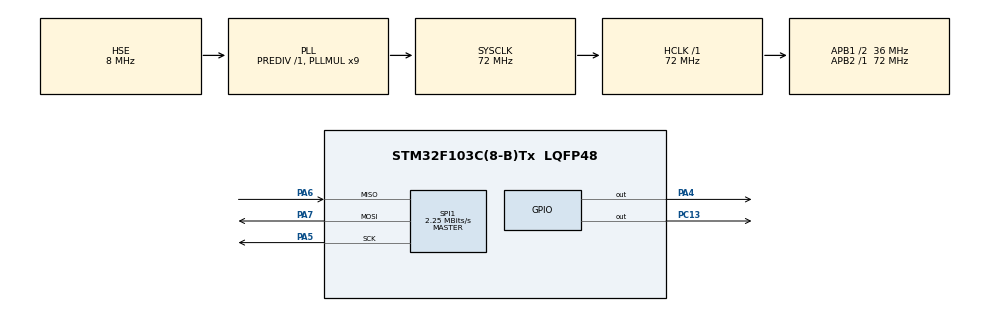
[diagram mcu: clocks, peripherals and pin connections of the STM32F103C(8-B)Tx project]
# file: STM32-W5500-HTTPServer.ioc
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Mcu.Family=STM32F1
Mcu.Name=STM32F103C(8-B)Tx
Mcu.Package=LQFP48
NVIC.PriorityGroup=NVIC_PRIORITYGROUP_4
PA13.Mode=Serial_Wire
PA13.Signal=SYS_JTMS-SWDIO
PA14.Mode=Serial_Wire
PA14.Signal=SYS_JTCK-SWCLK
PA4.Signal=GPIO_Output
PA5.Mode=Full_Duplex_Master
PA5.Signal=SPI1_SCK
PA6.Mode=Full_Duplex_Master
PA6.Signal=SPI1_MISO
PA7.Mode=Full_Duplex_Master
PA7.Signal=SPI1_MOSI
PC13-TAMPER-RTC.Signal=GPIO_Output
PD0-OSC_IN.Mode=HSE-External-Oscillator
PD0-OSC_IN.Signal=RCC_OSC_IN
PD1-OSC_OUT.Mode=HSE-External-Oscillator
PD1-OSC_OUT.Signal=RCC_OSC_OUT
ProjectManager.HeapSize=0x200
ProjectManager.StackSize=0x400
ProjectManager.TargetToolchain=STM32CubeIDE
RCC.AHBFreq_Value=72000000
RCC.APB1CLKDivider=RCC_HCLK_DIV2
RCC.APB1Freq_Value=36000000
RCC.APB1TimFreq_Value=72000000
RCC.APB2Freq_Value=72000000
RCC.APB2TimFreq_Value=72000000
RCC.HCLKFreq_Value=72000000
RCC.PLLMUL=RCC_PLL_MUL9
RCC.PLLSourceVirtual=RCC_PLLSOURCE_HSE
RCC.SYSCLKFreq_VALUE=72000000
RCC.SYSCLKSource=RCC_SYSCLKSOURCE_PLLCLK
RCC.USBFreq_Value=72000000
SPI1.BaudRatePrescaler=SPI_BAUDRATEPRESCALER_32
SPI1.CalculateBaudRate=2.25 MBits/s
SPI1.Direction=SPI_DIRECTION_2LINES
SPI1.Mode=SPI_MODE_MASTER
SPI1.VirtualType=VM_MASTER
board=custom

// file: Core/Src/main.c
/* USER CODE BEGIN Header */
/**
  ******************************************************************************
  * @file           : main.c
  * @brief          : Main program body
  ******************************************************************************
  * @attention
  *
  * Copyright (c) 2024 STMicroelectronics.
  * All rights reserved.
  *
  * This software is licensed under terms that can be found in the LICENSE file
  * in the root directory of this software component.
  * If no LICENSE file comes with this software, it is provided AS-IS.
  *
  ******************************************************************************
  */
/* USER CODE END Header */
#include "main.h"

/* USER CODE BEGIN Includes */
#include <string.h>
#include <stdbool.h>
#include <stdio.h>
#include "Ethernet/socket.h"
#include "Internet/dhcp.h"
#include "Internet/httpServer.h"
/* USER CODE END Includes */

SPI_HandleTypeDef hspi1;

void SystemClock_Config(void);
static void MX_GPIO_Init(void);
static void MX_SPI1_Init(void);

/* USER CODE BEGIN 0 */
#define DHCP_SOCKET     0
#define DNS_SOCKET      1
#define HTTP_SOCKET     2
#define SOCK_TCPS       0
#define SOCK_UDPS       1
#define PORT_TCPS       5000
#define PORT_UDPS       3000
#define MAX_HTTPSOCK    6
#define index_page "<!DOCTYPE html>"\
  "<html>"\
    "<head>"\
      "<title>W5500-STM32 Web Server</title>"\
      "<meta http-equiv='Content-Type' content='text/html; charset=utf-8'>"\
      "<link href=\"data:image/x-icon;base64,A\" rel=\"icon\" type=\"image/x-icon\">"\
      "<style>"\
        "html {display: inline-block; margin: 0px auto; text-align: center;}"\
        "body{margin-top: 50px;}"\
        ".button {display: block;"\
          "width: 70px;"\
          "background-color: #008000;"\
          "border: none;"\
          "color: white;"\
          "padding: 14px 28px;"\
          "text-decoration: none;"\
          "font-size: 24px;"\
          "margin: 0px auto 36px;"\
          "border-radius: 5px;}"\
        ".button-on {background-color: #008000;}"\
        ".button-on:active{background-color: #008000;}"\
        ".button-off {background-color: #808080;}"\
        ".button-off:active {background-color: #808080;}"\
        "p {font-size: 20px;color: #808080;margin-bottom: 20px;}"\
      "</style>"\
    "</head>"\
    "<body>"\
      "<h1>STM32 - W5500</h1>"\
      "<p>Control the light via Ethernet</p>"\
      "<a class=\"button button-on\" href=\"/ledon.html\">ON</a>"\
      "<a class=\"button button-off\" href=\"/ledoff.html\">OFF</a>"\
    "</body>"\
  "</html>"

#define ledon_page" <!DOCTYPE html>"\
  "<html>"\
    "<head>"\
      "<title>W5500-STM32 Web Server</title>"\
      "<meta http-equiv='Content-Type' content='text/html; charset=utf-8'>"\
      "<link href=\"data:image/x-icon;base64,A\" rel=\"icon\" type=\"image/x-icon\">"\
      "<style>"\
        "html {display: inline-block; margin: 0px auto; text-align: center;}"\
        "body{margin-top: 50px;}"\
        ".button {display: block;"\
          "width: 70px;"\
          "background-color: #008000;"\
          "border: none;"\
          "color: white;"\
          "padding: 14px 28px;"\
          "text-decoration: none;"\
          "font-size: 24px;"\
          "margin: 0px auto 36px;"\
          "border-radius: 5px;}"\
        ".button-on {background-color: #008000;}"\
        ".button-on:active{background-color: #008000;}"\
        ".button-off {background-color: #808080;}"\
        ".button-off:active {background-color: #808080;}"\
        "p {font-size: 20px;color: #808080;margin-bottom: 20px;}"\
      "</style>"\
    "</head>"\
    "<body>"\
      "<h1>STM32 - W5500</h1>"\
      "<p>Light is currently on</p>"\
      "<a class=\"button button-off\" href=\"/ledoff.html\">OFF</a>"\
    "</body>"\
  "</html>"

#define ledoff_page"<!DOCTYPE html>"\
  "<html>"\
    "<head>"\
      "<title>W5500-STM32 Web Server</title>"\
      "<meta http-equiv='Content-Type' content='text/html; charset=utf-8'>"\
      "<link href=\"data:image/x-icon;base64,A\" rel=\"icon\" type=\"image/x-icon\">"\
      "<style>"\
        "html {display: inline-block; margin: 0px auto; text-align: center;}"\
        "body{margin-top: 50px;}"\
        ".button {display: block;"\
          "width: 70px;"\
          "background-color: #008000;"\
          "border: none;"\
          "color: white;"\
          "padding: 14px 28px;"\
          "text-decoration: none;"\
          "font-size: 24px;"\
          "margin: 0px auto 36px;"\
          "border-radius: 5px;}"\
        ".button-on {background-color: #008000;}"\
        ".button-on:active{background-color: #008000;}"\
        ".button-off {background-color: #808080;}"\
        ".button-off:active {background-color: #808080;}"\
        "p {font-size: 20px;color: #808080;margin-bottom: 20px;}"\
      "</style>"\
    "</head>"\
    "<body>"\
      "<h1>STM32 - W5500</h1>"\
      "<p>Light is currently off</p>"\
      "<a class=\"button button-on\" href=\"/ledon.html\">ON</a>"\
    "</body>"\
  "</html>"

uint8_t socknumlist[] = {2, 3, 4, 5, 6, 7};
uint8_t RX_BUF[1024];
uint8_t TX_BUF[1024];
wiz_NetInfo net_info = {
    .mac  = { 0xDE, 0xAD, 0xBE, 0xEF, 0xFE, 0xED },
    .dhcp = NETINFO_DHCP
};

uint8_t dhcp_buffer[1024];
uint8_t dns_buffer[1024];

/* USER CODE END 0 */

int main(void)
{

  /* MCU Configuration--------------------------------------------------------*/

  /* Reset of all peripherals, Initializes the Flash interface and the Systick. */
  HAL_Init();

  /* Configure the system clock */
  SystemClock_Config();

  /* Initialize all configured peripherals */
  MX_GPIO_Init();
  MX_SPI1_Init();
  /* USER CODE BEGIN 2 */
  W5500Init();
  httpServer_init(TX_BUF, RX_BUF, MAX_HTTPSOCK, socknumlist);
  reg_httpServer_cbfunc(NVIC_SystemReset, NULL);
  /* Web content registration */
  reg_httpServer_webContent((uint8_t *)"index.html", (uint8_t *)index_page);
  reg_httpServer_webContent((uint8_t *)"ledon.html", (uint8_t *)ledon_page);
  reg_httpServer_webContent((uint8_t *)"ledoff.html", (uint8_t *)ledoff_page);

  HAL_GPIO_WritePin(GPIOC, GPIO_PIN_13, GPIO_PIN_RESET);
  /* USER CODE END 2 */

  /* Infinite loop */
  /* USER CODE BEGIN WHILE */
  while (1)
  {
	for(int i = 0; i < MAX_HTTPSOCK; i++) httpServer_run(i); // HTTP Server handler
    /* USER CODE END WHILE */

  }
}

void SystemClock_Config(void)
{
  RCC_OscInitTypeDef RCC_OscInitStruct = {0};
  RCC_ClkInitTypeDef RCC_ClkInitStruct = {0};

  /** Initializes the RCC Oscillators according to the specified parameters
  * in the RCC_OscInitTypeDef structure.
  */
  RCC_OscInitStruct.OscillatorType = RCC_OSCILLATORTYPE_HSE;
  RCC_OscInitStruct.HSEState = RCC_HSE_ON;
  RCC_OscInitStruct.HSEPredivValue = RCC_HSE_PREDIV_DIV1;
  RCC_OscInitStruct.HSIState = RCC_HSI_ON;
  RCC_OscInitStruct.PLL.PLLState = RCC_PLL_ON;
  RCC_OscInitStruct.PLL.PLLSource = RCC_PLLSOURCE_HSE;
  RCC_OscInitStruct.PLL.PLLMUL = RCC_PLL_MUL9;
  if (HAL_RCC_OscConfig(&RCC_OscInitStruct) != HAL_OK)
  {
    Error_Handler();
  }

  /** Initializes the CPU, AHB and APB buses clocks
  */
  RCC_ClkInitStruct.ClockType = RCC_CLOCKTYPE_HCLK|RCC_CLOCKTYPE_SYSCLK
                              |RCC_CLOCKTYPE_PCLK1|RCC_CLOCKTYPE_PCLK2;
  RCC_ClkInitStruct.SYSCLKSource = RCC_SYSCLKSOURCE_PLLCLK;
  RCC_ClkInitStruct.AHBCLKDivider = RCC_SYSCLK_DIV1;
  RCC_ClkInitStruct.APB1CLKDivider = RCC_HCLK_DIV2;
  RCC_ClkInitStruct.APB2CLKDivider = RCC_HCLK_DIV1;

  if (HAL_RCC_ClockConfig(&RCC_ClkInitStruct, FLASH_LATENCY_2) != HAL_OK)
  {
    Error_Handler();
  }
}

static void MX_SPI1_Init(void)
{

  /* SPI1 parameter configuration*/
  hspi1.Instance = SPI1;
  hspi1.Init.Mode = SPI_MODE_MASTER;
  hspi1.Init.Direction = SPI_DIRECTION_2LINES;
  hspi1.Init.DataSize = SPI_DATASIZE_8BIT;
  hspi1.Init.CLKPolarity = SPI_POLARITY_LOW;
  hspi1.Init.CLKPhase = SPI_PHASE_1EDGE;
  hspi1.Init.NSS = SPI_NSS_SOFT;
  hspi1.Init.BaudRatePrescaler = SPI_BAUDRATEPRESCALER_32;
  hspi1.Init.FirstBit = SPI_FIRSTBIT_MSB;
  hspi1.Init.TIMode = SPI_TIMODE_DISABLE;
  hspi1.Init.CRCCalculation = SPI_CRCCALCULATION_DISABLE;
  hspi1.Init.CRCPolynomial = 10;
  if (HAL_SPI_Init(&hspi1) != HAL_OK)
  {
    Error_Handler();
  }

}

static void MX_GPIO_Init(void)
{
  GPIO_InitTypeDef GPIO_InitStruct = {0};

  /* GPIO Ports Clock Enable */
  __HAL_RCC_GPIOC_CLK_ENABLE();
  __HAL_RCC_GPIOD_CLK_ENABLE();
  __HAL_RCC_GPIOA_CLK_ENABLE();

  /*Configure GPIO pin Output Level */
  HAL_GPIO_WritePin(GPIOC, GPIO_PIN_13, GPIO_PIN_RESET);

  /*Configure GPIO pin Output Level */
  HAL_GPIO_WritePin(GPIOA, GPIO_PIN_4, GPIO_PIN_RESET);

  /*Configure GPIO pin : PC13 */
  GPIO_InitStruct.Pin = GPIO_PIN_13;
  GPIO_InitStruct.Mode = GPIO_MODE_OUTPUT_PP;
  GPIO_InitStruct.Pull = GPIO_NOPULL;
  GPIO_InitStruct.Speed = GPIO_SPEED_FREQ_LOW;
  HAL_GPIO_Init(GPIOC, &GPIO_InitStruct);

  /*Configure GPIO pin : PA4 */
  GPIO_InitStruct.Pin = GPIO_PIN_4;
  GPIO_InitStruct.Mode = GPIO_MODE_OUTPUT_PP;
  GPIO_InitStruct.Pull = GPIO_NOPULL;
  GPIO_InitStruct.Speed = GPIO_SPEED_FREQ_LOW;
  HAL_GPIO_Init(GPIOA, &GPIO_InitStruct);

}

/* USER CODE BEGIN 4 */

void wizchipSelect(void) {
    HAL_GPIO_WritePin(GPIOA, GPIO_PIN_4, GPIO_PIN_RESET);
}

void wizchipUnselect(void) {
    HAL_GPIO_WritePin(GPIOA, GPIO_PIN_4, GPIO_PIN_SET);
}

void wizchipReadBurst(uint8_t* buff, uint16_t len) {
    HAL_SPI_Receive(&hspi1, buff, len, HAL_MAX_DELAY);
}

void wizchipWriteBurst(uint8_t* buff, uint16_t len) {
    HAL_SPI_Transmit(&hspi1, buff, len, HAL_MAX_DELAY);
}

uint8_t wizchipReadByte(void) {
    uint8_t byte;
    wizchipReadBurst(&byte, sizeof(byte));
    return byte;
}

void wizchipWriteByte(uint8_t byte) {
    wizchipWriteBurst(&byte, sizeof(byte));
}

volatile bool ip_assigned = false;

void Callback_IPAssigned(void) {
    ip_assigned = true;
}

void Callback_IPConflict(void) {
    ip_assigned = false;
}

/* USER CODE END 4 */

void Error_Handler(void)
{
  __disable_irq();
  while (1)
  {
  }
}
